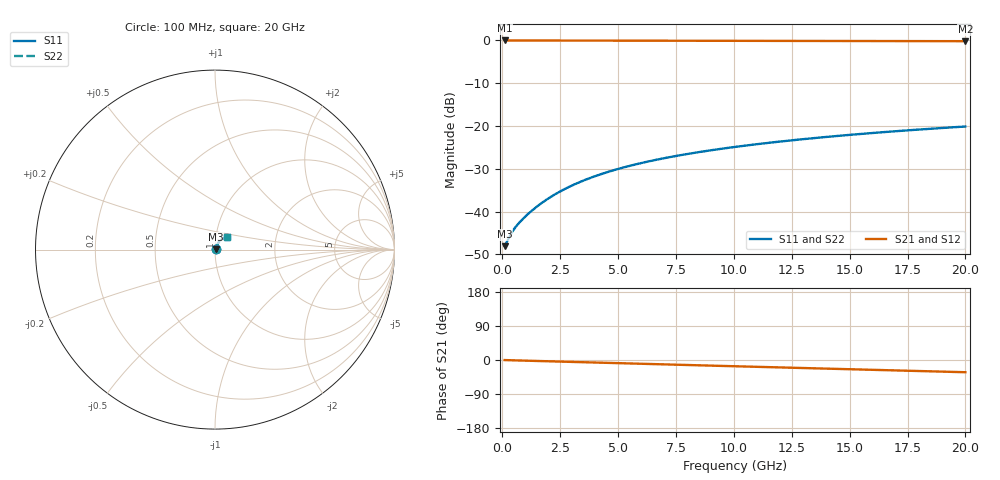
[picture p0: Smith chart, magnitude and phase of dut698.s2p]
! Touchstone file exported from HFSS 2026.1.0
!  File:  C:/ffzhzh/LocalFiles/Ansys_Project_Files/temp_train_TMRDL_698_1783010435_55676.aedt
!  Generated:  12:41:51 AM Jul  3, 2026
!  Design:  TMRDL
!  Project:  temp_train_TMRDL_698_1783010435_55676
! Variables:
!  h_bsmrdl = 2um
!  h_ox = 20um
!  h_rdl = 5um
!  h_sub = 80um
!  h_tmrdl = 4.15um
!  h_tsv = 80um
!  h_via = 3um
!  l_bsmrdl = 300um
!  l_sub = 977.1um
!  l_tmrdl = 577.1um
!  m_sub = 200um
!  pitch = 18.99um
!  r_tsv = 6um
!  s_tmrdl = 10um
!  w_bsmrdl = 18um
!  w_sub = 500um
!  w_tmrdl = 13.38um
!  x_tsv_center1 = 583.79um
!  x_tsv_center2 = 901.79um
!  x_tsv_center3 = 1492.27um
!  x_tsv_center4 = 1810.27um
!  x_tsv_center5 = 2400.75um
!  x_tsv_center6 = 2718.75um
# GHz S MA R 50.000000
! Terminal data exported
! Port[1] = TM_RDL1_1_T1
! Port[2] = TM_RDL1_1_T2
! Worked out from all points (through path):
!   200 points, 100 MHz to 20 GHz, reference 50 ohm
!   highest |S21| = -0.03 dB at 100 MHz (marker M1); lowest = -0.2 dB at 20 GHz (marker M2)
!   group delay of S21, straight-line fit = 4.46 ps
!   lowest |S11| = -48.1 dB at 100 MHz (marker M3), VSWR 1.01, Z = 50.4 + j0.0993 ohm
!   |S11| at or under -10 dB: start of sweep to end of sweep
!   |S22| runs from -48.1 to -20.1 dB; largest |S21 - S12| = 2.7e-15
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0.1  0.003937 14.5  0.9962 -0.2  0.9962 -0.2  0.003937 14.5
! Gamma 0 0 0 0
! Port Impedance 50 0 50 0
0.3  0.005044 31.8  0.9957 -0.6  0.9957 -0.6  0.005043 31.8
0.4  0.005636 36.3  0.9955 -0.7  0.9955 -0.7  0.005633 36.3
0.5  0.006193 39.8  0.9953 -0.9  0.9953 -0.9  0.006188 39.7
0.6  0.006723 42.6  0.9951 -1.1  0.9951 -1.1  0.006716 42.6
0.9  0.008255 49.4  0.9948 -1.6  0.9948 -1.6  0.008245 49.4
1.3  0.01036 55.8  0.9945 -2.2  0.9945 -2.2  0.01035 55.8
1.5  0.01145 58.1  0.9944 -2.6  0.9944 -2.6  0.01144 58.1
1.8  0.01313 60.7  0.9942 -3.1  0.9942 -3.1  0.01312 60.8
2.3  0.016 63.6  0.9938 -3.9  0.9938 -3.9  0.01599 63.7
2.9  0.01949 65.5  0.9933 -4.9  0.9933 -4.9  0.01948 65.5
3.5  0.02297 66.3  0.9927 -5.9  0.9927 -5.9  0.02296 66.3
4.2  0.02697 66.4  0.992 -7.0  0.992 -7.0  0.02696 66.5
5  0.03143 66.1  0.9911 -8.4  0.9911 -8.4  0.03142 66.1
5.9  0.03629 65.3  0.9901 -9.8  0.9901 -9.8  0.03628 65.4
6.8  0.041 64.4  0.989 -11.3  0.989 -11.3  0.04098 64.4
8.3  0.04851 62.6  0.9873 -13.7  0.9873 -13.7  0.04849 62.6
10.1  0.05707 60.3  0.9854 -16.6  0.9854 -16.6  0.05704 60.3
11.7  0.06435 58.2  0.9838 -19.2  0.9838 -19.2  0.06432 58.3
13.4  0.0718 55.9  0.9822 -21.9  0.9822 -21.9  0.07176 56.1
16.7  0.08556 51.5  0.9792 -27.1  0.9792 -27.1  0.0855 51.7
20  0.09839 47.0  0.9765 -32.3  0.9765 -32.3  0.09832 47.2
